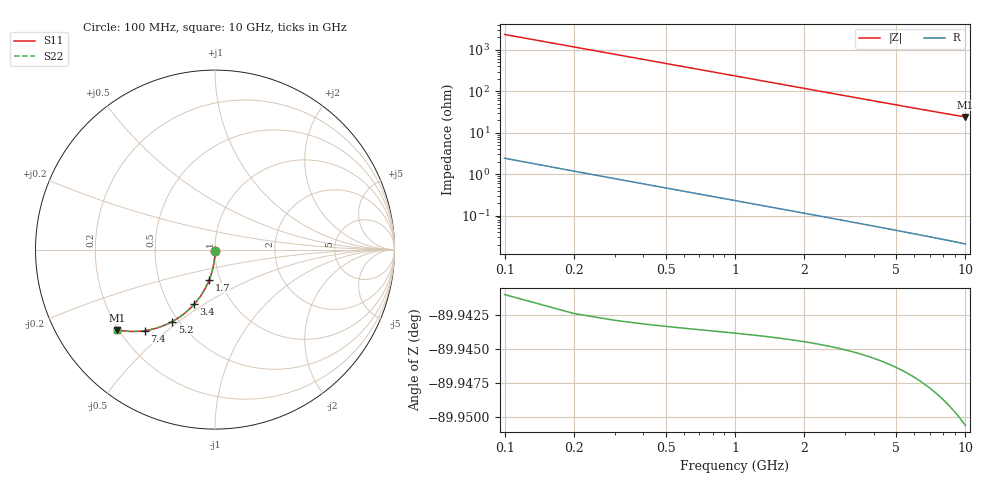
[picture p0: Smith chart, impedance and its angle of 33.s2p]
# Hz S RI R 50.00
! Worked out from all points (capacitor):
!   100 points, 100 MHz to 10 GHz, reference 50 ohm
!   read as one part in shunt: C = 677 fF near 100 MHz
!   lowest |Z| = 24 ohm at 10 GHz (marker M1)
!   S11 on the Smith chart (normalised r, x): 100 MHz: 1.00, -0.02; 1.7 GHz: 0.89, -0.31; 3.4 GHz: 0.67, -0.45; 5.2 GHz: 0.46, -0.47; 7.4 GHz: 0.30, -0.42; 10 GHz: 0.19, -0.35
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1e8  -2.02e-05 -0.0102  0.9998 -0.0111  0.9998 -0.0111  -2.02e-05 -0.0102
2e8  -0.000368 -0.0203  0.9994 -0.0222  0.9994 -0.0222  -0.000368 -0.0203
3e8  -0.000942 -0.0304  0.9988 -0.0333  0.9988 -0.0333  -0.000942 -0.0304
4e8  -0.00174 -0.0406  0.998 -0.0444  0.998 -0.0444  -0.00174 -0.0406
5e8  -0.00276 -0.0507  0.997 -0.0554  0.997 -0.0554  -0.00276 -0.0507
6e8  -0.00401 -0.0607  0.9958 -0.0664  0.9958 -0.0664  -0.00401 -0.0607
8e8  -0.00716 -0.0807  0.9926 -0.0883  0.9926 -0.0883  -0.00716 -0.0807
1.1e9  -0.0135 -0.1103  0.9862 -0.1208  0.9862 -0.1208  -0.0135 -0.1103
1.4e9  -0.0218 -0.1392  0.9779 -0.1526  0.9779 -0.1526  -0.0218 -0.1392
1.7e9  -0.0318 -0.1673  0.9679 -0.1836  0.9679 -0.1836  -0.0318 -0.1673
1.8e9  -0.0355 -0.1765  0.9641 -0.1937  0.9641 -0.1937  -0.0355 -0.1765
2.1e9  -0.0478 -0.2033  0.9518 -0.2234  0.9518 -0.2234  -0.0478 -0.2033
2.5e9  -0.0665 -0.2372  0.9329 -0.2612  0.9329 -0.2612  -0.0665 -0.2372
2.9e9  -0.0877 -0.2689  0.9117 -0.2967  0.9117 -0.2967  -0.0877 -0.2689
3.4e9  -0.117 -0.305  0.8823 -0.3377  0.8823 -0.3377  -0.117 -0.305
4.2e9  -0.1688 -0.3542  0.8302 -0.3948  0.8302 -0.3948  -0.1688 -0.3542
5.1e9  -0.2314 -0.397  0.7672 -0.4464  0.7672 -0.4464  -0.2314 -0.397
5.2e9  -0.2385 -0.4009  0.76 -0.4513  0.76 -0.4513  -0.2385 -0.4009
6.7e9  -0.3443 -0.4423  0.6533 -0.5077  0.6533 -0.5077  -0.3443 -0.4423
7.4e9  -0.3916 -0.4516  0.6056 -0.5242  0.6056 -0.5242  -0.3916 -0.4516
8.4e9  -0.455 -0.4562  0.5413 -0.5391  0.5413 -0.5391  -0.455 -0.4562
1e10  -0.5448 -0.4474  0.45 -0.5471  0.45 -0.5471  -0.5448 -0.4474
